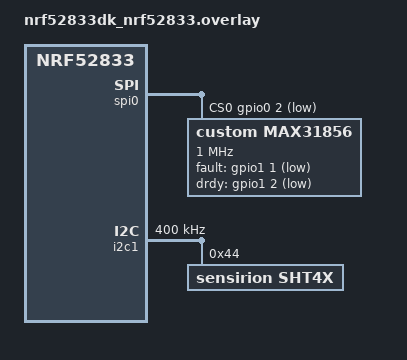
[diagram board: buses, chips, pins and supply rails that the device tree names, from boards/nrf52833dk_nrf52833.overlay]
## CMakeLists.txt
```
# SPDX-License-Identifier: Apache-2.0

cmake_minimum_required(VERSION 3.20.0)

list(APPEND EXTRA_ZEPHYR_MODULES
  ${CMAKE_CURRENT_SOURCE_DIR}/drivers/max31855
  ${CMAKE_CURRENT_SOURCE_DIR}/drivers/max31856
)

find_package(Zephyr REQUIRED HINTS $ENV{ZEPHYR_BASE})
project(nrf52833dk_Max31855)

target_sources(app PRIVATE src/main.c)
```

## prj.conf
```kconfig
CONFIG_GPIO=y
CONFIG_SPI=y
CONFIG_SENSOR=y
CONFIG_LOG=y


# Enable application defined syscalls (needed to build our own Zephyr drivers)
CONFIG_APPLICATION_DEFINED_SYSCALL=y
CONFIG_CUSTOM_MAX31855=y
CONFIG_MAX31856_FAULT_TRIGGER=y
CONFIG_MAX31856_DRDY_TRIGGER=y
CONFIG_I2C=y
CONFIG_SHT4X=y
CONFIG_MAX31856_USE_EXTERNAL_CJ=y
CONFIG_MAX31856_EXTERNAL_CJ_SHT4X=y
# Logging float support
CONFIG_FPU=y
CONFIG_NEWLIB_LIBC=y
CONFIG_NEWLIB_LIBC_FLOAT_PRINTF=y
CONFIG_NEWLIB_LIBC_FLOAT_SCANF=y
```

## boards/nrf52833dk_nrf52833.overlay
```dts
/ {
        aliases {
                die-temp0 = &temp;
        };
};

&spi0 {
    status = "okay"; /* Only needed if you want to enable it, and it's not enabled elsewhere */
	cs-gpios = < &gpio0 2 GPIO_ACTIVE_LOW >;
    max31856: max31856@0 {
        compatible = "custom,max31856";
        reg = <0>;
        spi-max-frequency = <1000000>;
        thermocouple-type = <3>; /* Type K */
        averaging = <3>; /* 8 samples */
        fault-gpios = < &gpio1 1 GPIO_ACTIVE_LOW >;  /* Fault GPIO */
        drdy-gpios = < &gpio1 2 GPIO_ACTIVE_LOW >;   /* Data Ready GPIO */
        filter-50hz;
        operating-mode = <0>; /* 0 = Auto mode, 1 = 1 shot mode */
        fault-mask; /* Enable FAULT pin assertion */        
        // cold-junction = <&sht4x>; /* Use SHT4x for cold junction compensation */
        // use-external-cj; /* Enable use of external cold junction sensor */
    };
};
&arduino_i2c {
    status = "disabled";
};
&spi1 {
    status = "disabled";
};
&i2c1 {
	compatible = "nordic,nrf-twi";
	status = "okay";
	clock-frequency = <I2C_BITRATE_FAST>;	
	pinctrl-0 = <&i2c1_default>;
	pinctrl-1 = <&i2c1_sleep>;
	pinctrl-names = "default", "sleep";
	sht4x: sht4x@44 {
		status = "okay";
		compatible = "sensirion,sht4x";
		reg = <0x44>;
		repeatability = <2>;
	};
};
```

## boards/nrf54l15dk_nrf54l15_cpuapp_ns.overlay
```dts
/ {
        aliases {
                die-temp0 = &temp;
        };
};

&gpio1 { status = "okay"; }; /* ensure gpio controller is enabled */
// &uart20 { status = "disabled"; };
&i2c20 { status = "disabled"; };
// &spi00 { status = "disabled"; };

/* Highspeed SPI (not working) */
&spi00 {
    status = "okay"; /* Only needed if you want to enable it, and it's not enabled elsewhere */
	cs-gpios = < &gpio2 10 GPIO_ACTIVE_LOW >;
    pinctrl-0 = <&spi00_default>;
	pinctrl-1 = <&spi00_sleep>;
    pinctrl-names = "default", "sleep";
    max31856: max31856@0 {
        compatible = "custom,max31856";
        reg = <0>;
        spi-max-frequency = <2000000>; /* Max 2MHz for nRF54L15 */
        thermocouple-type = <3>; /* Type K */
        averaging = <3>; /* 8 samples */
        // fault-gpios = < &gpio1 14 GPIO_ACTIVE_LOW >;  /* Fault GPIO */
        // drdy-gpios = < &gpio1 12 GPIO_ACTIVE_LOW >;   /* Data Ready GPIO */
        filter-50hz;
        operating-mode = <0>; /* 0 = Auto mode, 1 = 1 shot mode */
        fault-mask; /* Enable FAULT pin assertion */        
        // cold-junction = <&sht4x>; /* Use SHT4x for cold junction compensation */
        // use-external-cj; /* Enable use of external cold junction sensor */
    };
};

&pinctrl {
    /omit-if-no-ref/ spi00_default: spi00_default {
        group1 {
            psels = <NRF_PSEL(SPIM_SCK, 2, 6)>,
                <NRF_PSEL(SPIM_MOSI, 2, 9)>,
                <NRF_PSEL(SPIM_MISO, 2, 8)>;
                nordic,drive-mode = <NRF_DRIVE_H0S1>; /* Extra high drive */
        };
    };

    /omit-if-no-ref/ spi00_sleep: spi00_sleep {
        group1 {
            psels = <NRF_PSEL(SPIM_SCK, 2, 6)>,
                <NRF_PSEL(SPIM_MOSI, 2, 9)>,
                <NRF_PSEL(SPIM_MISO, 2, 8)>;
            low-power-enable;
        };
    };
};

/* Peripheral SPI */
// &spi21 {
//     status = "okay"; /* Only needed if you want to enable it, and it's not enabled elsewhere */
// 	cs-gpios = < &gpio1 13 GPIO_ACTIVE_LOW >;
//     pinctrl-0 = <&spi21_default>;
// 	pinctrl-1 = <&spi21_sleep>;
//     pinctrl-names = "default", "sleep";
//     max31856: max31856@0 {
//         compatible = "custom,max31856";
//         reg = <0>;
//         spi-max-frequency = <1000000>; /* Max 2MHz for nRF54L15 */
//         thermocouple-type = <3>; /* Type K */
//         averaging = <3>; /* 8 samples */
//         fault-gpios = < &gpio1 14 GPIO_ACTIVE_LOW >;  /* Fault GPIO */
//         drdy-gpios = < &gpio1 12 GPIO_ACTIVE_LOW >;   /* Data Ready GPIO */
//         filter-50hz;
//         operating-mode = <0>; /* 0 = Auto mode, 1 = 1 shot mode */
//         fault-mask; /* Enable FAULT pin assertion */        
//         // cold-junction = <&sht4x>; /* Use SHT4x for cold junction compensation */
//         // use-external-cj; /* Enable use of external cold junction sensor */
//     };
// };

// &pinctrl {
//     /omit-if-no-ref/ spi21_default: spi21_default {
//         group1 {
//             psels = <NRF_PSEL(SPIM_SCK, 1, 8)>,
//                 <NRF_PSEL(SPIM_MOSI, 1, 10)>,
//                 <NRF_PSEL(SPIM_MISO, 1, 11)>;
//         };
//     };

//     /omit-if-no-ref/ spi21_sleep: spi21_sleep {
//         group1 {
//             psels = <NRF_PSEL(SPIM_SCK, 1, 8)>,
//                 <NRF_PSEL(SPIM_MOSI, 1, 10)>,
//                 <NRF_PSEL(SPIM_MISO, 1, 11)>;
//             low-power-enable;
//         };
//     };
// };

/* Low Power SPI */
// &uart30 { status = "disabled"; };
// &uart00 { status = "disabled"; };
// &spi30 {
//     status = "okay"; /* Only needed if you want to enable it, and it's not enabled elsewhere */
// 	cs-gpios = < &gpio0 1 GPIO_ACTIVE_LOW >;
//     pinctrl-0 = <&spi30_default>;
// 	pinctrl-1 = <&spi30_sleep>;
//     pinctrl-names = "default", "sleep";
//     max31856: max31856@0 {
//         compatible = "custom,max31856";
//         reg = <0>;
//         spi-max-frequency = <2000000>; /* Max 2MHz for nRF54L15 */
//         thermocouple-type = <3>; /* Type K */
//         averaging = <3>; /* 8 samples */
//         fault-gpios = < &gpio0 4 GPIO_ACTIVE_LOW >;  /* Fault GPIO */
//         // drdy-gpios = < &gpio1 12 GPIO_ACTIVE_LOW >;   /* Data Ready GPIO */
//         filter-50hz;
//         operating-mode = <0>; /* 0 = Auto mode, 1 = 1 shot mode */
//         fault-mask; /* Enable FAULT pin assertion */        
//         // cold-junction = <&sht4x>; /* Use SHT4x for cold junction compensation */
//         // use-external-cj; /* Enable use of external cold junction sensor */
//     };
// };

// &pinctrl {
//     /omit-if-no-ref/ spi30_default: spi30_default {
//         group1 {
//             psels = <NRF_PSEL(SPIM_SCK, 0, 3)>,
//                 <NRF_PSEL(SPIM_MOSI, 0, 2)>,
//                 <NRF_PSEL(SPIM_MISO, 0, 0)>;
//         };
//     };

//     /omit-if-no-ref/ spi30_sleep: spi30_sleep {
//         group1 {
//             psels = <NRF_PSEL(SPIM_SCK, 0, 3)>,
//                 <NRF_PSEL(SPIM_MOSI, 0, 2)>,
//                 <NRF_PSEL(SPIM_MISO, 0, 0)>;
//             low-power-enable;
//         };
//     };
// };


// &i2c21 {
// 	compatible = "nordic,nrf-twi";
// 	status = "okay";
// 	clock-frequency = <I2C_BITRATE_FAST>;	
// 	pinctrl-0 = <&i2c21_default>;
// 	pinctrl-1 = <&i2c21_sleep>;
// 	pinctrl-names = "default", "sleep";
// 	sht4x: sht4x@44 {
// 		status = "okay";
// 		compatible = "sensirion,sht4x";
// 		reg = <0x44>;
// 		repeatability = <2>;
// 	};
// };
```

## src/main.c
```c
/*
 * Copyright (c) 2016 Intel Corporation
 *
 * SPDX-License-Identifier: Apache-2.0
 */

#include <stdio.h>
#include <zephyr/kernel.h>
#include <zephyr/drivers/gpio.h>
#include <zephyr/device.h>
#include <zephyr/devicetree.h>
#include <zephyr/drivers/spi.h>
#include <zephyr/drivers/sensor.h>
#include "max31856.h"

#include <zephyr/logging/log.h>
LOG_MODULE_REGISTER(max31856_app, LOG_LEVEL_INF);

/* 1000 msec = 1 sec */
#define SLEEP_TIME_MS   1000

/* assumes you named the DT node: max31855: in your overlay (node-label = max31855;) */
#define MAX31855_NODE DT_NODELABEL(max31856)
static const struct device *max_dev = DEVICE_DT_GET(MAX31855_NODE);
#ifdef CONFIG_SHT4X
static const struct device *external_cj = DEVICE_DT_GET(DT_NODELABEL(sht4x));
#endif

#ifdef CONFIG_MAX31856_FAULT_TRIGGER
/* Fault trigger handler */
static void fault_trigger_handler(const struct device *dev,
                                 const struct sensor_trigger *trig)
{
    struct sensor_value fault_status;
    
    /* Read the fault status */
    sensor_attr_get(dev, SENSOR_CHAN_ALL, MAX31856_ATTR_FAULT_TYPE, &fault_status);
    
    LOG_DBG("Fault detected: 0x%02x\n", fault_status.val1);
    
    /* Check specific fault bits */
    if (fault_status.val1 & MAX31856_FAULT_OPEN) {
        LOG_ERR("  - Open circuit fault\n");
    }
    if (fault_status.val1 & MAX31856_FAULT_OVUV) {
        LOG_ERR("  - Overvoltage/undervoltage fault\n");
    }
    if( fault_status.val1 & MAX31856_FAULT_TCLOW) {
        LOG_ERR("  - Thermocouple low threshold fault\n");
    }
    if (fault_status.val1 & MAX31856_FAULT_TCHIGH) {
        LOG_ERR("  - Thermocouple high threshold fault\n");
    }
    if (fault_status.val1 & MAX31856_FAULT_CJLOW) {
        LOG_ERR("  - Cold junction low threshold fault\n");
    }
    if (fault_status.val1 & MAX31856_FAULT_CJHIGH) {
        LOG_ERR("  - Cold junction high threshold fault\n");
    }
    if (fault_status.val1 & MAX31856_FAULT_TCRANGE) {
        LOG_ERR("  - Thermocouple out of range\n");
    }
    if (fault_status.val1 & MAX31856_FAULT_CJRANGE) {
        LOG_ERR("  - Cold junction out of range\n");
    }
}
#endif
#ifdef CONFIG_MAX31856_DRDY_TRIGGER
/* Data ready trigger handler */
static void drdy_trigger_handler(const struct device *dev,
                                const struct sensor_trigger *trig)
{
    struct sensor_value thermocouple, cold_junction;
    
    /* Read the temperature values */
    sensor_channel_get(dev, SENSOR_CHAN_DIE_TEMP, &thermocouple);
    sensor_channel_get(dev, SENSOR_CHAN_AMBIENT_TEMP, &cold_junction);
    
    LOG_INF("Data ready: Thermocouple: %d.%06d°C, Cold Junction: %d.%06d°C\n",
           thermocouple.val1, thermocouple.val2,
           cold_junction.val1, cold_junction.val2);
}
#endif

int main(void)
{	
    int err;
    /* External CJ value */
    struct sensor_value external_cj_val;
    /* Sensor threshold value */
    struct sensor_value threshold;
    /* Sensor Status */
    struct sensor_value status;
    if (!device_is_ready(max_dev)) {
        LOG_ERR("MAX31855 device not ready");
        return -1;
    }
        
#ifdef CONFIG_MAX31856_DRDY_TRIGGER
    /* Configure drdy trigger */
    struct sensor_trigger drdy_trigger_cfg = {
        .type = MAX31856_TRIGGER_DATA_READY,
        .chan = SENSOR_CHAN_ALL,
    };
    /* Set up data ready trigger */
    sensor_trigger_set(max_dev, &drdy_trigger_cfg, drdy_trigger_handler);
#else
	/* thermocouple temp (thermocouple channel) */
	struct sensor_value tc_val;
	/* internal / ambient temp (chip die temperature) */
	struct sensor_value ambient_val;
    /* Fault status */
    struct sensor_value fault_status;
#endif
#ifdef CONFIG_MAX31856_FAULT_TRIGGER
    /* sensor trigger*/
    struct sensor_trigger fault_trigger = {
        .type = MAX31856_TRIGGER_FAULT,
        .chan = SENSOR_CHAN_ALL,
    };
     /* Set up fault trigger */
    sensor_trigger_set(max_dev, &fault_trigger, fault_trigger_handler);
#endif

    k_msleep(100); /* Wait for sensor to stabilize */
    threshold.val1 = 30; // Set threshold to 100 degrees Celsius
    threshold.val2 = 0;   // No fractional part
    sensor_attr_set(max_dev, SENSOR_CHAN_ALL, MAX31856_ATTR_TC_UPPER_THRESH, &threshold);

    /* Get sensor status */
    sensor_attr_get(max_dev, SENSOR_CHAN_ALL, MAX31856_ATTR_FILTER_FREQ, &status);
    LOG_INF("MAX31856 filter frequency setting: %d\n", status.val1);
    sensor_attr_get(max_dev, SENSOR_CHAN_ALL, MAX31856_ATTR_AVERAGING, &status);
    LOG_INF("MAX31856 averaging setting: %d\n", status.val1);
    sensor_attr_get(max_dev, SENSOR_CHAN_ALL, MAX31856_ATTR_THERMOCOUPLE_TYPE, &status);
    LOG_INF("MAX31856 thermocouple type setting: %d\n", status.val1);
    
	while (1) {
		
        /* ask driver to read from the hardware and store latest sample */
        err = sensor_sample_fetch(max_dev);
        if (err) {
            LOG_ERR("sensor_sample_fetch failed: %d", err);
            k_msleep(1000);
            continue;
        }

        // err = sensor_sample_fetch(external_cj);
        // if (err) {
        //     LOG_ERR("sensor_sample_fetch_chan failed: %d", err);
        // } else {
        //     /* Read external cold junction temperature */
        //     sensor_channel_get(external_cj, SENSOR_CHAN_AMBIENT_TEMP, &external_cj_val);
        //     double ext_temp = sensor_value_to_double(&external_cj_val);
        //     LOG_INF("*External Cold Junction: %.2f °C", ext_temp);
        // }

        // /* Set external cold junction temperature */
        // err = sensor_attr_set(max_dev, SENSOR_CHAN_ALL, MAX31856_ATTR_CJ_TEMP, &external_cj_val);
        // if (err) {
        //     LOG_ERR("sensor_attr_set CJ_TEMP failed: %d", err);
        // } 
#ifndef CONFIG_MAX31856_DRDY_TRIGGER
        /* Read thermocouple and cold junction temperatures */
        err = sensor_channel_get(max_dev, SENSOR_CHAN_DIE_TEMP, &tc_val);
        if (err) {
            LOG_ERR("sensor_channel_get TEMP failed: %d", err);
        } else {
            double tc = sensor_value_to_double(&tc_val);
            LOG_INF("Thermocouple: %.2f °C", tc);
        }

        err = sensor_channel_get(max_dev, SENSOR_CHAN_AMBIENT_TEMP, &ambient_val);
        if (err) {
            LOG_ERR("sensor_channel_get AMBIENT failed: %d", err);
        } else {
            double amb = sensor_value_to_double(&ambient_val);
            LOG_INF("Cold junction: %.2f °C", amb);
        }
        /* Read fault status register */
        sensor_attr_get(max_dev, SENSOR_CHAN_ALL, MAX31856_ATTR_FAULT_TYPE, &fault_status);
        LOG_INF("Fault status: 0x%02x", fault_status.val1);
#endif

		k_msleep(SLEEP_TIME_MS);
	}
	return 0;
}
```
